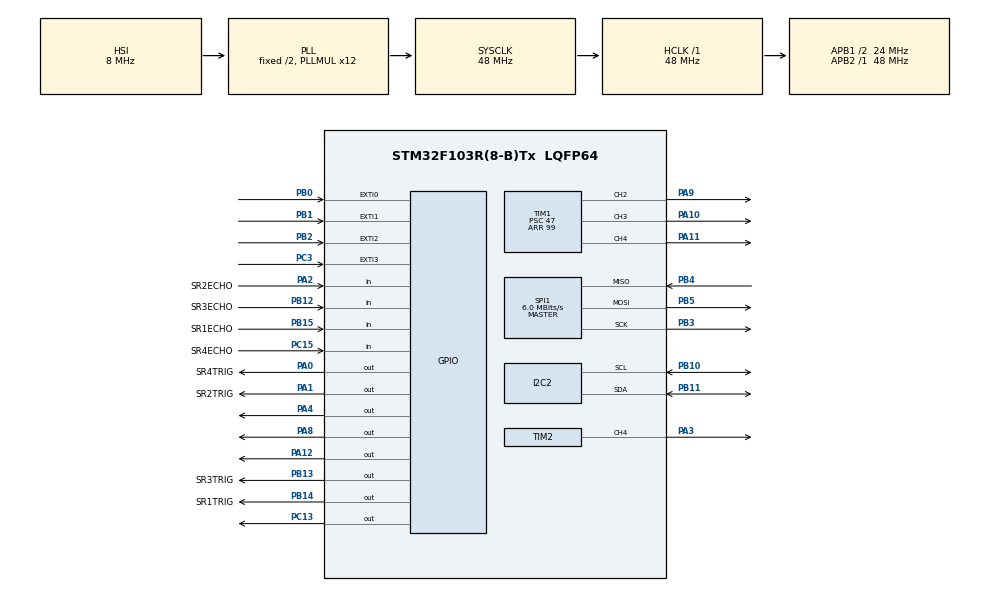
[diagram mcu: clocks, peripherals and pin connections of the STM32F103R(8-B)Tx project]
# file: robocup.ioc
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I2C2.I2C_Mode=I2C_Fast
Mcu.Family=STM32F1
Mcu.Name=STM32F103R(8-B)Tx
Mcu.Package=LQFP64
NVIC.EXTI0_IRQn=true\:1\:0\:true\:false\:true\:true\:true\:true
NVIC.EXTI1_IRQn=true\:1\:0\:true\:false\:true\:true\:true\:true
NVIC.EXTI2_IRQn=true\:1\:0\:true\:false\:true\:true\:true\:true
NVIC.EXTI3_IRQn=true\:1\:0\:true\:false\:true\:true\:true\:true
NVIC.PriorityGroup=NVIC_PRIORITYGROUP_4
NVIC.TIM4_IRQn=true\:2\:0\:true\:false\:true\:true\:true\:true
PA0-WKUP.GPIO_Label=SR4TRIG
PA0-WKUP.Signal=GPIO_Output
PA1.GPIO_Label=SR2TRIG
PA1.Signal=GPIO_Output
PA10.Signal=S_TIM1_CH3
PA11.Signal=S_TIM1_CH4
PA12.Signal=GPIO_Output
PA13.Mode=Serial_Wire
PA13.Signal=SYS_JTMS-SWDIO
PA14.Mode=Serial_Wire
PA14.Signal=SYS_JTCK-SWCLK
PA2.GPIO_Label=SR2ECHO
PA2.Signal=GPIO_Input
PA3.Signal=S_TIM2_CH4
PA4.Signal=GPIO_Output
PA8.Signal=GPIO_Output
PA9.Signal=S_TIM1_CH2
PB0.Signal=GPXTI0
PB1.Signal=GPXTI1
PB10.Mode=I2C
PB10.Signal=I2C2_SCL
PB11.Mode=I2C
PB11.Signal=I2C2_SDA
PB12.GPIO_Label=SR3ECHO
PB12.Signal=GPIO_Input
PB13.GPIO_Label=SR3TRIG
PB13.Signal=GPIO_Output
PB14.GPIO_Label=SR1TRIG
PB14.Signal=GPIO_Output
PB15.GPIO_Label=SR1ECHO
PB15.Signal=GPIO_Input
PB2.Signal=GPXTI2
PB3.Mode=Full_Duplex_Master
PB3.Signal=SPI1_SCK
PB4.Mode=Full_Duplex_Master
PB4.Signal=SPI1_MISO
PB5.Mode=Full_Duplex_Master
PB5.Signal=SPI1_MOSI
PC13-TAMPER-RTC.Signal=GPIO_Output
PC15-OSC32_OUT.GPIO_Label=SR4ECHO
PC15-OSC32_OUT.Signal=GPIO_Input
PC3.Signal=GPXTI3
ProjectManager.HeapSize=0x200
ProjectManager.StackSize=0x400
ProjectManager.TargetToolchain=STM32CubeIDE
RCC.AHBFreq_Value=48000000
RCC.APB1CLKDivider=RCC_HCLK_DIV2
RCC.APB1Freq_Value=24000000
RCC.APB1TimFreq_Value=48000000
RCC.APB2Freq_Value=48000000
RCC.APB2TimFreq_Value=48000000
RCC.HCLKFreq_Value=48000000
RCC.PLLMUL=RCC_PLL_MUL12
RCC.SYSCLKFreq_VALUE=48000000
RCC.SYSCLKSource=RCC_SYSCLKSOURCE_PLLCLK
RCC.USBFreq_Value=48000000
SH.S_TIM1_CH2.0=TIM1_CH2,PWM Generation2 CH2
SH.S_TIM1_CH3.0=TIM1_CH3,PWM Generation3 CH3
SH.S_TIM1_CH4.0=TIM1_CH4,PWM Generation4 CH4
SH.S_TIM2_CH4.0=TIM2_CH4,PWM Generation4 CH4
SPI1.BaudRatePrescaler=SPI_BAUDRATEPRESCALER_8
SPI1.CalculateBaudRate=6.0 MBits/s
SPI1.Direction=SPI_DIRECTION_2LINES
SPI1.Mode=SPI_MODE_MASTER
SPI1.VirtualType=VM_MASTER
TIM1.Channel-PWM\ Generation2\ CH2=TIM_CHANNEL_2
TIM1.Channel-PWM\ Generation3\ CH3=TIM_CHANNEL_3
TIM1.Channel-PWM\ Generation4\ CH4=TIM_CHANNEL_4
TIM1.Period=99
TIM1.Prescaler=47
TIM2.Channel-PWM\ Generation4\ CH4=TIM_CHANNEL_4
TIM2.Period=99
TIM2.Prescaler=47
TIM3.Period=0xffff-1
TIM3.Prescaler=47
TIM4.Period=999
TIM4.Prescaler=47
VP_TIM1_VS_ClockSourceINT.Mode=Internal
VP_TIM2_VS_ClockSourceINT.Mode=Internal
VP_TIM3_VS_ClockSourceINT.Mode=Internal
VP_TIM4_VS_ClockSourceINT.Mode=Internal
board=custom

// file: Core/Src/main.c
/* USER CODE BEGIN Header */
/**
  ******************************************************************************
  * @file           : main.c
  * @brief          : Main program body
  ******************************************************************************
  * @attention
  *
  * Copyright (c) 2023 STMicroelectronics.
  * All rights reserved.
  *
  * This software is licensed under terms that can be found in the LICENSE file
  * in the root directory of this software component.
  *  lalalalalalallalalallalalalalalallalalalalalal
  * If no LICENSE file comes with this software, it is provided AS-IS.
  *
  ******************************************************************************
  */
/* USER CODE END Header */
#include "main.h"
#include "i2c.h"
#include "spi.h"
#include "tim.h"
#include "gpio.h"

/* USER CODE BEGIN Includes */

#include "mpu6050.h"
#include <math.h>
#include <stdlib.h>
/* USER CODE END Includes */

/* USER CODE BEGIN PTD */
MPU6050_t mpu6050;

#define PI 3.14159265
const double RAD_TO_DEG = 180/PI;
const double DEG_TO_RAD = PI/180;

double sx, sy, sz;

double kp = 1.9, ki = 1.5, pv = 0, kd = 1.6;

double dis1, dis3, dis2, dis4;

float gx, gy, gz;
float AccX, AccY, AccZ;
float RateCalibrationRoll, RateCalibrationPitch, RateCalibrationYaw;
int RateCalibrationNumber;
// version request to Pixy
uint8_t versionRequest[] =
{
  0xae,  // first byte of no_checksum_sync (little endian -> least-significant byte first)
  0xc1,  // second byte of no_checksum_sync
  0x0e,  // this is the version request type
  0x00,   // data_length is 0
};
uint8_t getBlocks[] = {
	174,
	193,
	32,
	2,
	7,
	1
};
uint8_t buffer_rx[32];

int ballx;
int bally;
int ballheight;
int ballwidth;

int isBallInView = 0, isInBounds = 1, isPixyChecked = 0, isMPUCollibrated = 0;

#define MAXSPEED 40
#define ZONEDIS_TH 50
#define PIXY_Y_ZERO 114
#define PIXY_X_ZERO 157
#define MAXPIDSPEED 20

uint32_t timcounter = 0;

enum Zones {FAR, CLOSE, BALLIN};

enum Zones zone = FAR;
/* USER CODE END PTD */

/* USER CODE BEGIN PD */

typedef struct Motor {
	uint16_t timer;
	uint16_t channel;
	uint16_t in1;
	GPIO_TypeDef *in1_port;
	uint16_t speed;
	int en;
} Motor;

typedef struct SR {
	uint16_t trig_pin;
	GPIO_TypeDef *trig_port;
	uint16_t echo_pin;
	GPIO_TypeDef *echo_port;
} SR;

typedef struct Gyro {
	float x;
	float y;
	float z;
} Gyro;

double deg, yx;

// declaration of Motors
Motor Motor_1 = {1, 2, GPIO_PIN_8, GPIOA, 0, 0};

Motor Motor_2 = {1, 3, GPIO_PIN_4, GPIOA, 0, 0};

Motor Motor_3 = {2, 4, GPIO_PIN_12, GPIOA, 0, 0};

Motor Motor_4 = {1, 4, GPIO_PIN_6, GPIOA, 0, 0};

// declaration of sr04 sensors
SR Sr1 = {GPIO_PIN_14, GPIOB, GPIO_PIN_15, GPIOB};

SR Sr2 = {GPIO_PIN_1, GPIOA, GPIO_PIN_2, GPIOA};

SR Sr3 = {GPIO_PIN_13, GPIOB, GPIO_PIN_12, GPIOB};

SR Sr4 = {GPIO_PIN_0, GPIOA, GPIO_PIN_15, GPIOC};

Gyro Gy = {0, 0, 0};
/* USER CODE END PD */

/* USER CODE BEGIN PV */

long int map(long int x, long int in_min, long int in_max, long int out_min, long int out_max)
{
  return (x - in_min) * (out_max - out_min) / (in_max - in_min) + out_min;
}

double lerp(double v0, double v1, double t)	 {
	return v0 + t * (v1 - v0);
}

void PWM (Motor *motor, uint32_t speed, int enable) {
	switch(motor->timer) {
		case(1):
			switch(motor->channel){
				case(2):
						TIM1->CCR2 = speed;
						break;
				case(3):
						TIM1->CCR3 = speed;
						break;
				case(4):
						TIM1->CCR4 = speed;
						break;
			}
			break;
		case(2):
			switch(motor->channel) {
				case(4):
					TIM2->CCR4 = speed;
					break;
			}
			break;
	}
	HAL_GPIO_WritePin(GPIOA, motor->in1, enable);
}

void CollibrateMpu6050(int samples) {
	for (RateCalibrationNumber=0; RateCalibrationNumber < samples; RateCalibrationNumber++) {
	    MPU6050_Read_All(&hi2c2, &mpu6050, 0, 0, 0);
	    RateCalibrationRoll+=mpu6050.Gx;
	    RateCalibrationPitch+=mpu6050.Gy;
	    RateCalibrationYaw+=mpu6050.Gz;
	    HAL_Delay(1);
	}
	RateCalibrationRoll/=samples;
	RateCalibrationPitch/=samples;
	RateCalibrationYaw/=samples;

	isMPUCollibrated = 1;
}

void Kalman_1d(float KalmanState, float KalmanUncertainty, float KalmanInput, float KalmanMeasurment) {
	KalmanState = KalmanState + 0.004 * KalmanInput;
	KalmanUncertainty = KalmanUncertainty + 0.004 * 0.004 * 4 * 4;
	float KalmanGain = KalmanUncertainty * 1/ (1*KalmanUncertainty + 3 * 3);
	KalmanState = KalmanState + KalmanGain*(KalmanMeasurment - KalmanState);
	KalmanUncertainty = (1 - KalmanGain) * KalmanUncertainty;

	Kalman1DOutput[0] = KalmanState;
	Kalman1DOutput[1] = KalmanUncertainty;
}

void ReadMPU6050() {
	  MPU6050_Read_All(&hi2c2, &mpu6050, RateCalibrationRoll, RateCalibrationPitch, RateCalibrationYaw);

	  AccX = (float)mpu6050.Accel_X_RAW/16384;
	  AccY = (float)mpu6050.Accel_Y_RAW/16384 + 0.01;
	  AccZ = (float)mpu6050.Accel_Z_RAW/16384;

	  gx = (float)mpu6050.Gyro_X_RAW/131 - RateCalibrationRoll;
	  gy = (float)mpu6050.Gyro_Y_RAW/131 - RateCalibrationPitch;
	  gz = (float)mpu6050.Gyro_Z_RAW/131 - RateCalibrationYaw;

	  sx += gx;
	  sy += gy;
	  sz += gz;

	  Gy.x = sx / 2000;
	  Gy.y = sy / 2000;
	  Gy.z = sz / 2000;
}

void Rotate_to_zero() {
	double e = 0;
	uint32_t u = 0;
	e = 0 - Gy.z;
	int en = e > 0 ? 0 : 1;
	e = abs(e);
	u = abs((int)(kp * e + ki * (e * .1)));
	if (u > MAXPIDSPEED) {
		u = MAXPIDSPEED;
	}

	if (en == 1) {
	}

	if (en == 0) {
	}

	pv = Gy.z;
}

void delay_us(int us) {
	__HAL_TIM_SET_COUNTER(&htim3, 0);
	while (__HAL_TIM_GET_COUNTER(&htim3) < us);
}

double Read_sr(SR *sr) {
	HAL_GPIO_WritePin(sr->trig_port, sr->trig_pin, GPIO_PIN_RESET);
	delay_us(2);
	HAL_GPIO_WritePin(sr->trig_port, sr->trig_pin, GPIO_PIN_SET);
	delay_us(10);
    HAL_GPIO_WritePin(sr->trig_port, sr->trig_pin, GPIO_PIN_RESET);

    int t = 0;
    while(HAL_GPIO_ReadPin(sr->echo_port, sr->echo_pin) != GPIO_PIN_SET);
    while(HAL_GPIO_ReadPin(sr->echo_port, sr->echo_pin) == GPIO_PIN_SET) {
   	   t += 1;
   	   delay_us(1);

   	   if(t > 3000) break;
    }

    return (double)(t*340)/2000;
}

int offsets[] = {-45, -135, 135, 45};

void GotoPoint(double r, double teta, int speed) {
	for (int i = 0; i < 4; ++i) {
		double t = teta + offsets[i];
		double s = sin(t * DEG_TO_RAD) * speed;
		if (s > MAXSPEED) s = MAXSPEED;
		int en = s > 0 ? 1 : 0;
		s = abs(s);
		if (en == 0) {
			switch(i) {
			case 0:
				PWM(&Motor_1, s, en);
				break;
			case 1:
				PWM(&Motor_2, s, en);
				break;
			case 2:
				PWM(&Motor_3, 100 - s, !en);
				break;
			case 3:
				PWM(&Motor_4, s, en);
				break;
			}
		}
		else if (en == 1) {
			switch(i) {
				case 0:
					PWM(&Motor_1, 100 - s, en);
					break;
					case 1:
					PWM(&Motor_2, 100 - s, en);
					break;
				case 2:
					PWM(&Motor_3, s, !en);
					break;
				case 3:
					PWM(&Motor_4, 100 - s, en);
					break;
			}
		}
	}

}

void AllMotorsZero() {
	PWM(&Motor_1, 0, 1);
	PWM(&Motor_2, 0, 1);
	PWM(&Motor_3, 0, 0);
	PWM(&Motor_4, 0, 1);
}

void getBallPosiotion() {
	HAL_SPI_Transmit(&hspi1, &getBlocks, 6, 1000);
	HAL_Delay(1);
	HAL_SPI_Receive(&hspi1, &buffer_rx, 8, 1000); //garbage values
	HAL_SPI_Receive(&hspi1, &buffer_rx, 4, 1000);

	if (buffer_rx[3] != 14) {
		isBallInView = 0;
		return;
	}

	HAL_SPI_Receive(&hspi1, buffer_rx, 14, 1000);

	// x_crop : 83 - 220
	// y_crop : 51 - 186

	ballx = buffer_rx[4] + buffer_rx[5] * 255;
	bally = buffer_rx[6] + buffer_rx[7] * 255;
	ballwidth = buffer_rx[8] + buffer_rx[9] * 255;
	ballheight = buffer_rx[10] + buffer_rx[11] * 255;

	if (!(ballx > 68 && ballx < 229)) {
		isBallInView = 0;
		return;
	}
	if (!(bally > 38 && bally < 197)) {
		isBallInView = 0;
		return;
	}

	isBallInView = 1;

	if (ballx >= PIXY_X_ZERO) {
		ballx -= PIXY_X_ZERO;
	}else {
		ballx = -1 * (PIXY_X_ZERO - ballx);
	}

	if (bally >= PIXY_Y_ZERO) {
		bally = -1 * (PIXY_Y_ZERO - bally);
	}else {
		bally -= PIXY_Y_ZERO;
	}

	ballx *= -1;
	bally *= -1;

	for (int i = 0; i < 26; i++) {
		buffer_rx[i] = 0;
	}
}

double r, teta;

void GetBall(int speed) {
//	double p0x = 0, p0y = 0;
//	double p2x = ballx - 6, p2y = bally - 18;
//	double p1x = p2x / 2 + 20, p1y = p2y / 2 - 10;
//	double px1, py1, px2, py2, x, y, lastpx = 0, lastpy = 0, lastbx, lastby, dy, dx;

	r = abs(sqrt(ballx * ballx + bally * bally));

	if (ballx >= 0) teta = -(atan((double)bally / ballx) * RAD_TO_DEG - 90);
	else if (ballx < 0) teta = -((atan((double)bally/ ballx) + PI)* RAD_TO_DEG - 90);

	if (r >= ZONEDIS_TH) zone = FAR;
	else if (r < ZONEDIS_TH) {
		if (abs(teta) > 15) {
			zone = CLOSE;
		}
		else{
			zone = BALLIN;
		}
	}
	else HAL_Delay(5000);

	switch (zone) {
	case CLOSE:
		if (teta > 0) {
			GotoPoi9nt(r, teta + 35, speed);
		}
		else if(teta < 0) {
			GotoPoint(r, teta - 35, speed);
		}
		break;
	case FAR:
		GotoPoint(r, teta, speed);
		break;
	case BALLIN:
		GotoPoint(10, 0, speed);
		break;
	}

//
//	GotoPoint(10, teta, speed);
//
//	while(ballx >= 6 && bally >= 18);
/*
	for (double t = getBallCurveQ; t < 1.001; t += getBallCurveQ) {
		px1 = lerp(p0x, p1x, t);
		py1 = lerp(p0y, p1y, t);
		px2 = lerp(p1x, p2x, t);
		py2 = lerp(p1y, p2y, t);
		x = lerp(px1, px2, t);
		y = lerp(py1, py2, t);

		dy = y - lastpy;
		dx = x - lastpx;

		if (x >= 0) teta = -(atan(dy / dx) * RAD_TO_DEG - 90);
		else if (x < 0) teta = -((atan(dy / dx) + PI)* RAD_TO_DEG - 90);

		r = sqrt(dx * dx + dy * dy);

		GotoPoint(r, teta, speed);

		m1++;

		while (abs(abs(lastbx - ballx) - abs(dx)) >= 5 && abs(abs(lastby - bally) - abs(dy)) >= 5) {
			if (timcounter % 200 == 0) {
				getBallPosiotion();
			}

			m2++;
		}

		lastbx = ballx;
		lastby = bally;
		lastpx = x;
		lastpy = y;
	}

	AllMotorsZero();
	HAL_Delay(5000);
	*/
}

void BackToGoal() {
	checkBounds();
	if(dis3 >= 20) {
//		while (abs(dis1 - dis2) > 10 && dis3 >= 20) {
//			if (dis1 > dis2) {
//				GotoPoint(10, -135, 20);
//				checkBounds();
//			}
//			else if (dis2 > dis1) {
//				GotoPoint(10, 135, 20);
//				checkBounds();
//			}
//			HAL_Delay(200);
//			getBallPosiotion();
//			if(isBallInView) GetBall(20);
//		}
		while(dis3 >= 20) {
			GotoPoint(10, 180, 20);
			HAL_Delay(200);
			getBallPosiotion();
			checkBounds();
			ReadMPU6050();
			if (floor(Gy.z) > 3) {
				int e = abs(2 - Gy.z);
				int u = kgp * e + kgi * e * .2;
				u = map(u, 0, 50, 0, 20);
				TIM1->CCR2 += u;
				TIM1->CCR3 += u;
			} else if (ceil(Gy.z) < -3) {
				int e = abs(-2	 - Gy.z);
				int u = kgp * e + kgi * e * .2;
				u = map(u, 0, 50, 0, 20);
				TIM1->CCR4 += u;
				TIM2->CCR4 += u;
			}
			//if(isBallInView) GetBall(20);
		}
		HAL_Delay(1000);
	}
}

void HAL_TIM_PeriodElapsedCallback(TIM_HandleTypeDef *htim) {
	if (timcounter % 2 == 0 && isMPUCollibrated) {
		ReadMPU6050();
	}

	if (timcounter % 200 == 0 && isPixyChecked) {
		getBallPosiotion();
	}

	timcounter++;
}

void HAL_GPIO_EXTI_Callback(uint16_t GPIO_Pin) {
	if (GPIO_Pin == GPIO_PIN_3) {
		HAL_GPIO_TogglePin(GPIOC, GPIO_PIN_13);
		HAL_Delay(500);
    }
}

/* USER CODE END PV */

void SystemClock_Config(void);

int main(void)
{

  /* MCU Configuration--------------------------------------------------------*/

  /* Reset of all peripherals, Initializes the Flash interface and the Systick. */
   HAL_Init();

  /* Configure the system clock */
  SystemClock_Config();

  /* Initialize all configured peripherals */
  MX_GPIO_Init();
  MX_I2C2_Init();
  MX_TIM2_Init();
  MX_TIM1_Init();
  MX_TIM3_Init();
  MX_SPI1_Init();
  MX_TIM4_Init();
  /* USER CODE BEGIN 2 */
  while (MPU6050_Init(&hi2c2) == 1);

  HAL_TIM_Base_Start(&htim1);
  HAL_TIM_Base_Start(&htim2);
  HAL_TIM_Base_Start(&htim3);
  HAL_TIM_Base_Start_IT(&htim4);

  TIM1->CCR2 = 0;
  TIM1->CCR3 = 0;
  TIM1->CCR4 = 0;
  TIM2->CCR4 = 0;

  HAL_TIM_PWM_Start(&htim1, TIM_CHANNEL_2);
  HAL_TIM_PWM_Start(&htim1, TIM_CHANNEL_3);
  HAL_TIM_PWM_Start(&htim1, TIM_CHANNEL_4);
  HAL_TIM_PWM_Start(&htim2, TIM_CHANNEL_4);

  HAL_GPIO_WritePin(GPIOA, GPIO_PIN_8, GPIO_PIN_RESET);

  __HAL_TIM_SET_COUNTER(&htim4, 0);

  CollibrateMpu6050(500);

  HAL_Delay(500);

  while(HAL_SPI_Receive(&hspi1, buffer_rx, 1, 100));

  HAL_SPI_Transmit(&hspi1, &versionRequest, 4, 1000);
  HAL_Delay(1);
  HAL_SPI_Receive(&hspi1, &buffer_rx, 8, 1000);  //first 9 garbage data
  HAL_SPI_Receive(&hspi1, &buffer_rx, 22, 1000);

  isPixyChecked = 1;

  HAL_Delay(1000);

  HAL_GPIO_WritePin(GPIOC, GPIO_PIN_13, GPIO_PIN_SET);
  /* USER CODE END 2 */

  /* Infinite loop */
  /* USER CODE BEGIN WHILE */
  while (1)
  {
//	  if (floor(Gy.z) >= 4 || ceil(Gy.z) <= -4) {
//		  Rotate_to_zero();
//	  }

	  if(isBallInView) {
		  GetBall(35);
	  }
//	  else {
//	  	  AllMotorsZero();
//	  }
    /* USER CODE END WHILE */

  }
}

void SystemClock_Config(void)
{
  RCC_OscInitTypeDef RCC_OscInitStruct = {0};
  RCC_ClkInitTypeDef RCC_ClkInitStruct = {0};

  /** Initializes the RCC Oscillators according to the specified parameters
  * in the RCC_OscInitTypeDef structure.
  */
  RCC_OscInitStruct.OscillatorType = RCC_OSCILLATORTYPE_HSI;
  RCC_OscInitStruct.HSIState = RCC_HSI_ON;
  RCC_OscInitStruct.HSICalibrationValue = RCC_HSICALIBRATION_DEFAULT;
  RCC_OscInitStruct.PLL.PLLState = RCC_PLL_ON;
  RCC_OscInitStruct.PLL.PLLSource = RCC_PLLSOURCE_HSI_DIV2;
  RCC_OscInitStruct.PLL.PLLMUL = RCC_PLL_MUL12;
  if (HAL_RCC_OscConfig(&RCC_OscInitStruct) != HAL_OK)
  {
    Error_Handler();
  }

  /** Initializes the CPU, AHB and APB buses clocks
  */
  RCC_ClkInitStruct.ClockType = RCC_CLOCKTYPE_HCLK|RCC_CLOCKTYPE_SYSCLK
                              |RCC_CLOCKTYPE_PCLK1|RCC_CLOCKTYPE_PCLK2;
  RCC_ClkInitStruct.SYSCLKSource = RCC_SYSCLKSOURCE_PLLCLK;
  RCC_ClkInitStruct.AHBCLKDivider = RCC_SYSCLK_DIV1;
  RCC_ClkInitStruct.APB1CLKDivider = RCC_HCLK_DIV2;
  RCC_ClkInitStruct.APB2CLKDivider = RCC_HCLK_DIV1;

  if (HAL_RCC_ClockConfig(&RCC_ClkInitStruct, FLASH_LATENCY_1) != HAL_OK)
  {
    Error_Handler();
  }
}

void Error_Handler(void)
{
  __disable_irq();
  while (1)
  {
  }
}
